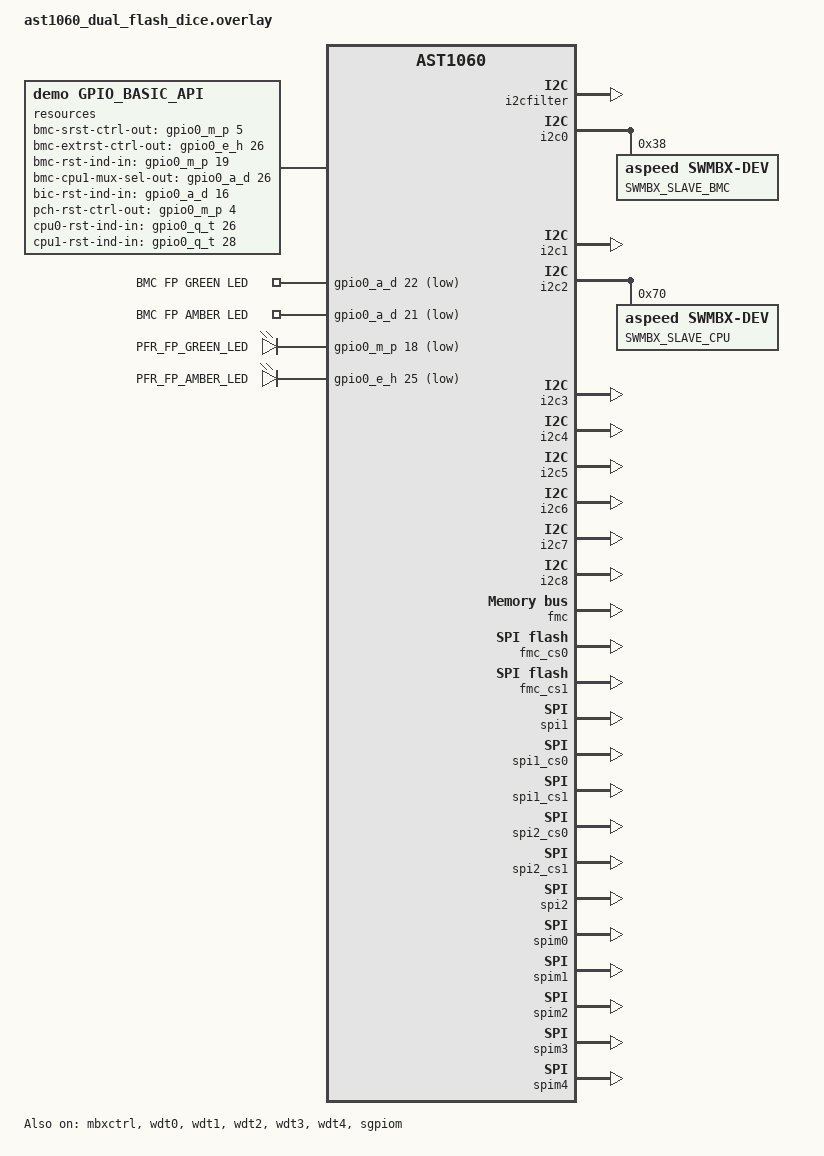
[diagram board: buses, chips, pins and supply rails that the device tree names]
/ {
	/* For v01.00.06 */
	resources {
		compatible = "demo,gpio_basic_api";
		bmc-srst-ctrl-out-gpios = <&gpio0_m_p 5 0>; /* GPIO_M5 */
		bmc-extrst-ctrl-out-gpios = <&gpio0_e_h 26 0>; /* GPIO_H2 */
		bmc-rst-ind-in-gpios = <&gpio0_m_p 19 0>; /* GPIO_O3 */
		bmc-cpu1-mux-sel-out-gpios = <&gpio0_a_d 26 0>; /* GPIO_D2 */
		bic-rst-ind-in-gpios = <&gpio0_a_d 16 0>; /* GPIO_C0 */
		pch-rst-ctrl-out-gpios = <&gpio0_m_p 4 0>; /* GPIO_M4 */
		cpu0-rst-ind-in-gpios = <&gpio0_q_t 26 0>; /* GPIO_T2 */
		cpu1-rst-ind-in-gpios = <&gpio0_q_t 28 0>; /* GPIO_T4 */
		cpu0-flash-pwr-out-gpios = <&gpio0_i_l 26 0>; /* GPIO_L2 */
		cpu1-flash-pwr-out-gpios = <&gpio0_i_l 27 0>; /* GPIO_L3 */

		platform-state-out-gpios =
			<&sgpiom_a_d 0 0>, <&sgpiom_a_d 1 0>,
			<&sgpiom_a_d 2 0>, <&sgpiom_a_d 3 0>,
			<&sgpiom_a_d 4 0>, <&sgpiom_a_d 5 0>,
			<&sgpiom_a_d 6 0>, <&sgpiom_a_d 7 0>;

		/* NOTICE:
		 * Normally, these two pin should be GPIO_ACTIVE_LOW, but currently this EVB
		 * doesn't produce correct power sequence by itself.
		 */
		rst-srst-bmc-in-gpios = <&gpio0_q_t 27 GPIO_ACTIVE_HIGH>; /* GPIO_T3 */
		rst-rsmrst-in-gpios = <&gpio0_q_t 24 GPIO_ACTIVE_HIGH>; /* GPIO_T0 */
	};

	aliases {
		led0 = &pfr_fp_green_led_out;
		led1 = &pfr_fp_amber_led_out;
		fp-input0 = &bmc_fp_green_led_in;
		fp-input1 = &bmc_fp_amber_led_in;
	};

        gpio_keys {
		compatible = "gpio-keys";
		bmc_fp_green_led_in: fp_green_led_in {
			gpios = <&gpio0_a_d 22 1>; /* GPIO_C6 */
			label = "BMC FP GREEN LED";
		};

		bmc_fp_amber_led_in: fp_amber_led_in {
			gpios = <&gpio0_a_d 21 1>; /* GPIO_C5 */
			label = "BMC FP AMBER LED";
		};
	};

	leds {
		compatible = "gpio-leds";

		pfr_fp_green_led_out: green_led {
			gpios = <&gpio0_m_p 18 1>; /* GPIO_O2 */
			label = "PFR_FP_GREEN_LED";
		};

		pfr_fp_amber_led_out: amber_led {
			gpios = <&gpio0_e_h 25 1>; /* GPIO_H1 */
			label = "PFR_FP_AMBER_LED";
		};
	};
};

&i2cfilter {
	pinctrl-0 = <&pinctrl_smbflt_default>;
	status = "okay";
};

&mbxctrl {
	status = "okay";
};

&i2c0 {
	status = "okay";
	pinctrl-0 = <&pinctrl_i2c0_default>;

	swmbx0: swmbx0@38 {
		compatible = "aspeed,swmbx-dev";
		reg = <0x38>;
		label = "SWMBX_SLAVE_BMC";
		size = <256>;
		port = <0>;
		status = "okay";
	};
};

&i2c1 {
	pinctrl-0 = <&pinctrl_i2c1_default>;
	status = "okay";
};

&i2c2 {
	pinctrl-0 = <&pinctrl_i2c2_default>;
	status = "okay";

	swmbx1: swmbx1@70 {
		compatible = "aspeed,swmbx-dev";
		reg = <0x70>;
		label = "SWMBX_SLAVE_CPU";
		size = <256>;
		port = <1>;
		status = "okay";
	};
};

&i2c3 {
	pinctrl-0 = <&pinctrl_i2c3_default>;
	status = "okay";
};

&i2c4 {
	pinctrl-0 = <&pinctrl_i2c4_default>;
	status = "okay";
};

&i2c5 {
	pinctrl-0 = <&pinctrl_i2c5_default>;
	status = "okay";
};

&i2c6 {
	pinctrl-0 = <&pinctrl_i2c6_default>;
	status = "okay";
};

&i2c7 {
	pinctrl-0 = <&pinctrl_i2c7_default>;
	status = "okay";
};

// for i2c filter testing
&i2c8 {
	pinctrl-0 = <&pinctrl_i2c8_default>;
	status = "okay";
};

&wdt0 {
	status = "okay";
};

&wdt1 {
	status = "okay";
};

&wdt2 {
	status = "okay";
};

&wdt3 {
	status = "okay";
};

&wdt4 {
	status = "okay";
};

&fmc {
	status = "okay";
};

&fmc_cs0 {
	/delete-property/ broken-sfdp;
	/delete-property/ write-block-size;
	status = "okay";
	spi-max-buswidth = <4>;
	spi-max-frequency = <50000000>;
	partitions {
		compatible = "fixed-partitions";
		#address-cells = <1>;
		#size-cells = <1>;
		mcuboot_partition: partition@0 {
			label = "mcuboot";
			reg = <0x0 0x1c000>;
		};

		certificate_partition: partition@1c000 {
			label = "certificate";
			reg = <0x1c000 0x4000>;
		};


		active_partition: partition@20000 {
			label = "active";
			reg = <0x20000 0x60000>;
		};

		recovery_partition: partition@80000 {
			label = "recovery";
			reg = <0x80000 0x60000>;
		};

		afm_act_1_partition: partition@e0000 {
			label = "afm_act_1";
			reg = <0xe0000 0x6000>;
		};

		state_partition: partition@e6000 {
			label = "state";
			reg = <0xe6000 0x2000>;
		};

		key_partition: partition@e8000 {
			label = "key";
			reg = <0xe8000 0x8000>;
		};

		intel_state_partition: partition@f0000 {
			label = "intel_state";
			reg = <0xf0000 0x10000>;
		};
	};
};

&fmc_cs1 {
	status = "okay";
	spi-max-buswidth = <4>;
	spi-max-frequency = <50000000>;
};

&spi1 {
	num-cs = <2>;
	status = "okay";
};

/* "SPI1_CS0" is used to access flash connected to SPI_Monitor_1,
 * "SPI1_CS1" is used to access flash connected to SPI_Monitor_2,
 * "SPI2_CS0" is used to access flash connected to SPI_Monitor_3,
 * "SPI2_CS1" is used to access flash connected to SPI_Monitor_4,
 */

&spi1_cs0 {
	spi-max-buswidth = <4>;
	spi-max-frequency = <50000000>;
	status = "okay";
};

&spi1_cs1 {
	spi-max-buswidth = <4>;
	spi-max-frequency = <50000000>;
	status = "okay";
};

&spi2_cs0 {
	spi-max-buswidth = <4>;
	spi-max-frequency = <50000000>;
	status = "okay";
};

&spi2_cs1 {
	spi-max-buswidth = <4>;
	spi-max-frequency = <50000000>;
	status = "okay";
};

&spi2 {
	internal-mux-master = <2>;
	spi-monitor-output-base = <3>;
	spi-monitor-common-ctrl = <&spim0>;
	pinctrl-0 = <>;

	num-cs = <2>;
	status = "okay";
};

&spim0 {
	status = "okay";
};

&spim1 {
	allow-cmds = [03 13 0b 0c 6b 6c 01 05 35 06 04 20 21 9f 5a b7 e9 32 34 d8 dc 02 12 3b 3c 70 bb bc];
	log-ram-size = <0x200>;
	pinctrl-0 = <&pinctrl_spim1_cs &pinctrl_spim1_in_default &pinctrl_spim1_qspi_in_default
				&pinctrl_spim1_rst_out &pinctrl_spim1_muxsel>;

	flash-device = <&spi1_cs0>;
	ext-mux-sel = <1>;
	status = "okay";

	write-forbidden-regions = <
		0x00000000 0x08000000
	>;
};

&spim2 {
	allow-cmds = [03 13 0b 0c 6b 6c 01 05 35 06 04 20 21 9f 5a b7 e9 32 34 d8 dc 02 12 3b 3c 70 bb bc];
	log-ram-size = <0x200>;
	pinctrl-0 = <&pinctrl_spim2_cs &pinctrl_spim2_in_default &pinctrl_spim2_qspi_in_default
				&pinctrl_spim2_rst_out &pinctrl_spim2_muxsel>;

	flash-device = <&spi1_cs1>;
	ext-mux-sel = <1>;
	status = "okay";

	write-forbidden-regions = <
		0x00000000 0x08000000
	>;
};

&spim3 {
	allow-cmds = [03 13 0b 0c 6b 6c 01 05 35 06 04 20 21 9f 5a b7 e9 32 34 d8 dc 02 12 3b 3c 70 bb bc];
	log-ram-size = <0x200>;
	pinctrl-0 = <&pinctrl_spim3_cs &pinctrl_spim3_in_default &pinctrl_spim3_out_default
		&pinctrl_spim3_qspi_in_default &pinctrl_spim3_qspi_out_default
		&pinctrl_spim3_muxsel &pinctrl_spim3_rst_out>;

	flash-device = <&spi2_cs0>;
	ext-mux-sel = <1>;
	status = "okay";
	write-forbidden-regions = <
		0x00000000 0x08000000
	>;
};

&spim4 {
	allow-cmds = [03 13 0b 0c 6b 6c 01 05 35 06 04 20 21 9f 5a b7 e9 32 34 d8 dc 02 12 3b 3c 70 bb bc];
	log-ram-size = <0x200>;
	pinctrl-0 = <&pinctrl_spim4_cs &pinctrl_spim4_in_default &pinctrl_spim4_out_default
		&pinctrl_spim4_qspi_in_default &pinctrl_spim4_qspi_out_default
		&pinctrl_spim4_muxsel &pinctrl_spim4_rst_out>;

	flash-device = <&spi2_cs1>;
	ext-mux-sel = <1>;
	status = "okay";
};

&sgpiom {
	status = "okay";
};
